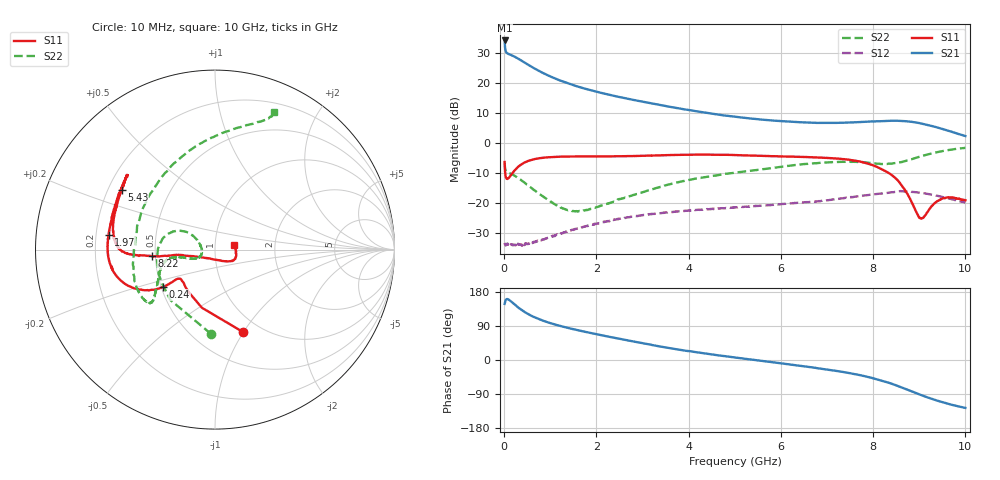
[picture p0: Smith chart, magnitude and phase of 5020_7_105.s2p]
# Hz S  dB  R 50
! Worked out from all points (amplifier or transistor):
!   1000 points, 10 MHz to 10 GHz, reference 50 ohm
!   highest |S21| = 34.3 dB at 10 MHz (marker M1)
!   |S21| within 3 dB of that: start of sweep to 25.94 MHz
!   unconditionally stable (mu >= 1): 57.51 MHz to end of sweep
!   at 1.67 GHz: K = 1.15, MAG = 21.1 dB, |S12| = -28.3 dB
!   at 5.01 GHz: K = 1.11, MAG = 13.1 dB, |S12| = -21.5 dB
!   at 10 GHz: K = 1.15, MAG = 8.8 dB, |S12| = -19.9 dB
!   S11 on the Smith chart (normalised r, x): 10 MHz: 0.83, -0.99; 240 MHz: 0.51, -0.24; 1.97 GHz: 0.25, +0.06; 5.43 GHz: 0.26, +0.27; 8.22 GHz: 0.48, -0.04; 10 GHz: 1.24, +0.07
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1e7  -6.32 -71.4  34.34 148.1  -33.38 27.5  -6.56 -92.8
7e7  -12.01 -139.2  30.04 160.8  -33.58 9.1  -9.72 -171.5
8e7  -11.89 -140.5  29.94 160.4  -34.05 9.0  -9.82 -174.5
1.1e8  -11.48 -142.3  29.74 158.4  -34.10 5.4  -9.96 178.9
2.4e8  -8.94 -144.3  28.81 145.1  -34.00 9.7  -11.05 163.0
3.6e8  -7.26 -148.3  27.74 133.6  -33.85 13.5  -12.29 154.7
5e8  -6.12 -154.0  26.41 122.6  -33.70 20.1  -13.91 149.5
6.3e8  -5.45 -158.7  25.22 114.3  -33.30 25.7  -15.47 147.6
7.7e8  -5.04 -163.1  24.04 107.0  -32.78 29.5  -17.11 148.1
9.4e8  -4.76 -167.4  22.74 99.8  -31.70 34.4  -18.90 151.7
1.13e9  -4.59 -171.8  21.45 92.7  -30.72 38.5  -20.78 159.5
1.68e9  -4.44 177.6  18.54 76.4  -28.19 40.9  -22.70 -169.6
1.97e9  -4.46 172.2  17.31 68.9  -26.99 39.7  -21.67 -158.1
2.61e9  -4.39 159.9  15.06 53.5  -24.99 34.6  -18.36 -155.8
3.34e9  -4.12 147.1  12.84 36.6  -23.55 26.8  -14.87 -165.9
5.01e9  -4.00 142.8  8.82 6.5  -21.50 9.6  -9.88 -161.1
5.43e9  -4.20 147.6  8.08 0.1  -21.07 6.0  -9.08 -153.5
6.67e9  -4.72 168.5  6.83 -19.2  -19.68 -7.1  -6.84 -140.1
8.22e9  -9.01 -174.1  7.35 -55.7  -16.80 -37.0  -7.00 173.3
8.34e9  -10.01 -173.2  7.44 -60.1  -16.61 -40.1  -6.87 163.0
9.03e9  -25.26 -106.9  6.60 -92.0  -16.61 -70.2  -4.45 97.0
1e10  -19.12 14.6  2.37 -126.5  -19.89 -102.0  -1.60 66.6
